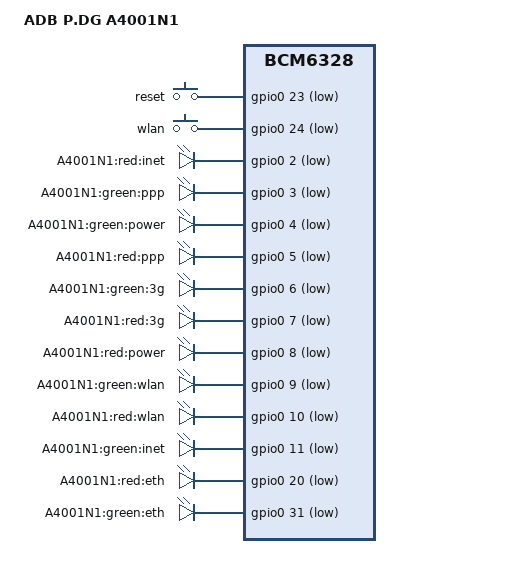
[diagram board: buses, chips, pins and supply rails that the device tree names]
/dts-v1/;

#include "bcm6328.dtsi"

#include <dt-bindings/input/input.h>

/ {
	model = "ADB P.DG A4001N1";
	compatible = "adb,a4001n1", "brcm,bcm6328";

	chosen {
		bootargs = "root=/dev/mtdblock2 rootfstype=squashfs,jffs2 noinitrd console=ttyS0,115200";
	};

	gpio-keys-polled {
		compatible = "gpio-keys-polled";
		#address-cells = <1>;
		#size-cells = <0>;
		poll-interval = <20>;
		debounce-interval = <60>;

		reset {
			label = "reset";
			gpios = <&gpio0 23 1>;
			linux,code = <KEY_RESTART>;
		};
		wps {
			label = "wlan";
			gpios = <&gpio0 24 1>;
			linux,code = <KEY_WLAN>;
		};
	};

	gpio-leds {
		compatible = "gpio-leds";

		inet_red {
			label = "A4001N1:red:inet";
			gpios = <&gpio0 2 1>;
		};
		ppp_green {
			label = "A4001N1:green:ppp";
			gpios = <&gpio0 3 1>;
		};
		power_green {
			label = "A4001N1:green:power";
			gpios = <&gpio0 4 1>;
			default-state = "on";
		};
		ppp_red {
			label = "A4001N1:red:ppp";
			gpios = <&gpio0 5 1>;
		};
		usb_green {
			label = "A4001N1:green:3g";
			gpios = <&gpio0 6 1>;
		};
		usb_red {
			label = "A4001N1:red:3g";
			gpios = <&gpio0 7 1>;
		};
		power_red {
			label = "A4001N1:red:power";
			gpios = <&gpio0 8 1>;
		};
		wlan_green {
			label = "A4001N1:green:wlan";
			gpios = <&gpio0 9 1>;
		};
		wlan_red {
			label = "A4001N1:red:wlan";
			gpios = <&gpio0 10 1>;
		};
		inet_green {
			label = "A4001N1:green:inet";
			gpios = <&gpio0 11 1>;
		};
		eth_red {
			label = "A4001N1:red:eth";
			gpios = <&gpio0 20 1>;
		};
		eth_green {
			label = "A4001N1:green:eth";
			gpios = <&gpio0 31 1>;
		};
	};
};
